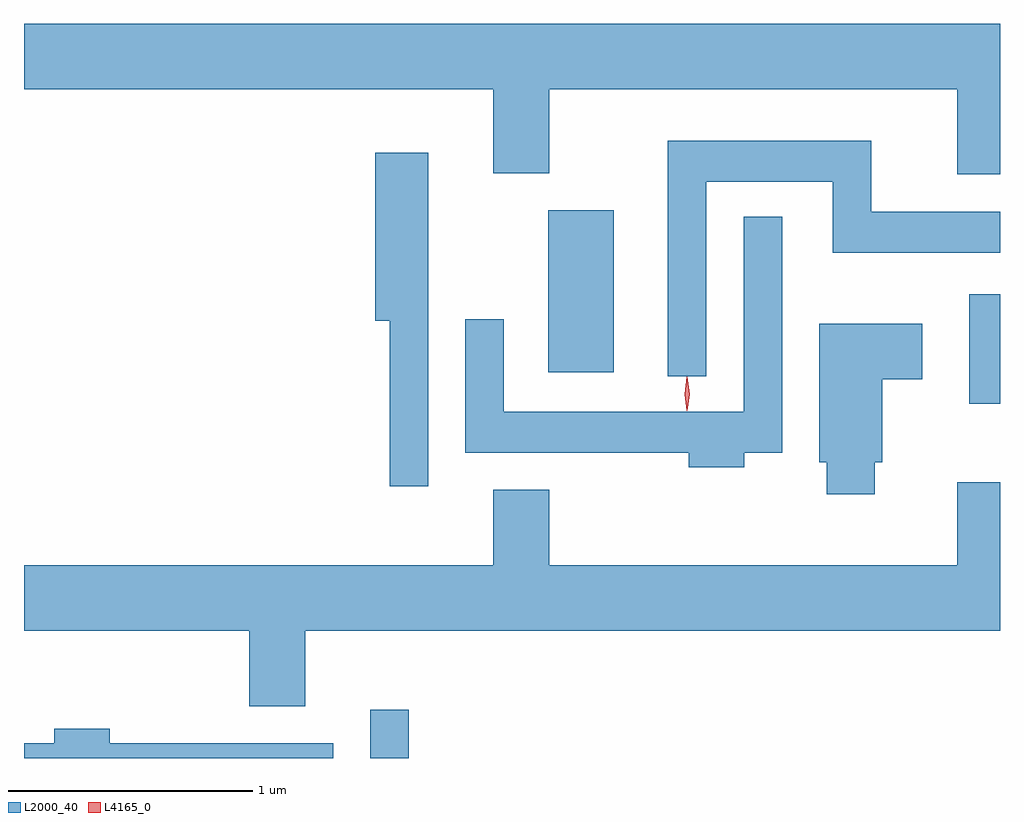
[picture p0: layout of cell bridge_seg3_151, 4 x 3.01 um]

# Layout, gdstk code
import gdstk
lib = gdstk.Library(unit=1e-6, precision=1e-09)
def R(c, l, rs):  # rectangles x0, y0, x1, y1
    for r in rs: c.add(gdstk.rectangle(r[:2], r[2:], *l))
def P(c, l, *ps):  # polygons
    for p in ps: c.add(gdstk.Polygon(p, *l))
L2000_40 = (2000, 40)
L4165_0 = (4165, 0)

bridge_seg3_151 = lib.new_cell('bridge_seg3_151')
R(bridge_seg3_151, L2000_40, [(888.676,1187.653,888.834,1187.853), (891.131,1189.106,891.257,1189.554), (889.406,1189.236,889.674,1189.899)])
P(bridge_seg3_151, L2000_40, [(891.257,1190.664),(887.257,1190.664),(887.257,1190.396),(889.181,1190.396),(889.181,1190.051),(889.409,1190.051),(889.409,1190.396),(891.081,1190.396),(891.081,1190.046),(891.257,1190.046)],
  [(890.054,1190.016),(890.571,1190.016),(890.571,1189.726),(891.257,1189.726),(891.257,1189.894),(890.729,1189.894),(890.729,1190.184),(889.896,1190.184),(889.896,1189.218),(890.054,1189.218)],
  [(888.914,1190.134),(888.696,1190.134),(888.696,1189.446),(888.756,1189.446),(888.756,1188.768),(888.914,1188.768)],
  [(890.209,1188.906),(890.364,1188.906),(890.364,1189.873),(890.206,1189.873),(890.206,1189.074),(889.224,1189.074),(889.224,1189.453),(889.066,1189.453),(889.066,1188.906),(889.981,1188.906),(889.981,1188.846),(890.209,1188.846)],
  [(890.744,1188.866),(890.774,1188.866),(890.774,1189.206),(890.939,1189.206),(890.939,1189.434),(890.516,1189.434),(890.516,1188.866),(890.546,1188.866),(890.546,1188.736),(890.744,1188.736)],
  [(888.409,1188.176),(891.257,1188.176),(891.257,1188.784),(891.081,1188.784),(891.081,1188.444),(889.409,1188.444),(889.409,1188.754),(889.181,1188.754),(889.181,1188.444),(887.257,1188.444),(887.257,1188.176),(888.181,1188.176),(888.181,1187.866),(888.409,1187.866)],
  [(888.524,1187.714),(887.609,1187.714),(887.609,1187.774),(887.381,1187.774),(887.381,1187.714),(887.257,1187.714),(887.257,1187.653),(888.524,1187.653)])
P(bridge_seg3_151, L4165_0, [(889.974,1189.077),(889.965,1189.146),(889.974,1189.216),(889.975,1189.216),(889.975,1189.216),(889.985,1189.146),(889.975,1189.077),(889.975,1189.077)],
  [(889.975,1189.079),(889.974,1189.08),(889.965,1189.146),(889.974,1189.212),(889.975,1189.213),(889.975,1189.212),(889.985,1189.146),(889.975,1189.08)])

lib.write_gds('bridge_seg3_151.gds')
